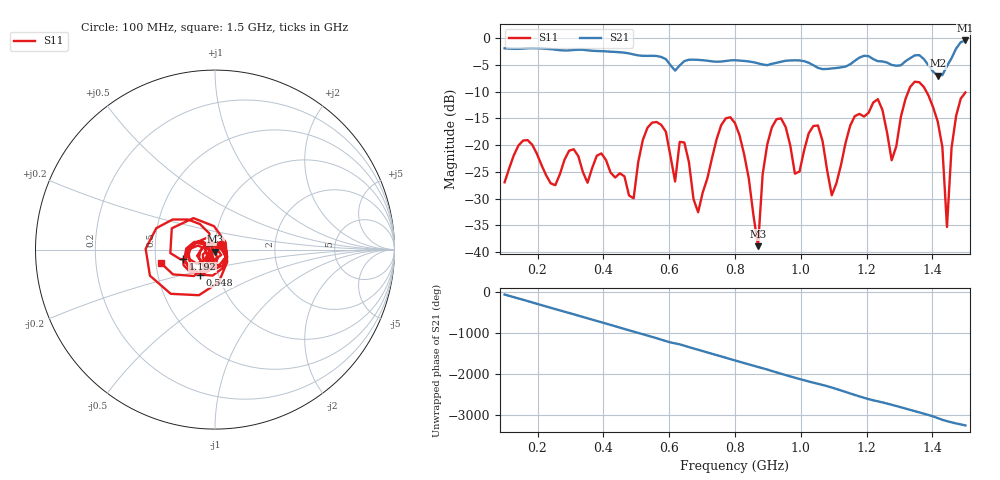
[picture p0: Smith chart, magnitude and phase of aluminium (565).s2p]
! NanoVNA-App
! Date: 2025-09-25 14:59:40
! Start: 100MHz Stop: 1,5GHz Points: 101
! S-Parameter data: F S11 S21 S12 S22
# Hz S RI R 50
!  Frequency  S11_Real  S11_Imag  S21_Real  S21_Imag  S12_Real  S12_Imag  S22_Real  S22_Imag
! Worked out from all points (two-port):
!   101 points, 100 MHz to 1.5 GHz, reference 50 ohm
!   highest |S21| = -0.45 dB at 1.5 GHz (marker M1); lowest = -7.0 dB at 1.416 GHz (marker M2)
!   |S21| within 3 dB of the highest: start of sweep to 569.2 MHz; 1.46 GHz to end of sweep (the widest 2 of 4)
!   lowest |S11| = -38.9 dB at 870 MHz (marker M3), VSWR 1.02, Z = 50.2 - j1.11 ohm
!   |S11| at or under -10 dB: start of sweep to 1.327 GHz; 1.381 GHz to end of sweep
!   S12 and S22 are empty: the file has one direction only
!   S11 on the Smith chart (normalised r, x): 100 MHz: 1.07, +0.06; 548 MHz: 0.82, -0.23; 1.192 GHz: 0.70, -0.08; 1.5 GHz: 0.53, -0.09
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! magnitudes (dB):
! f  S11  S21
! 100 MHz  -27.0  -1.9
! 156 MHz  -19.2  -2.0
! 338 MHz  -25.1  -2.2
! 492 MHz  -30.0  -3.1
! 548 MHz  -15.8  -3.3
! 576 MHz  -16.2  -3.5
! 646 MHz  -19.5  -4.3
! 688 MHz  -32.6  -4.1
! 800 MHz  -15.9  -4.1
! 870 MHz  -38.9  -4.7
! 912 MHz  -16.7  -4.8
! 982 MHz  -25.3  -4.2
! 1.038 GHz  -16.4  -5.1
! 1.094 GHz  -29.4  -5.7
! 1.192 GHz  -14.7  -3.3
! 1.234 GHz  -11.4  -4.3
! 1.276 GHz  -22.8  -5.0
! 1.346 GHz  -8.2  -3.2
! 1.416 GHz  -15.6  -7.0
! 1.444 GHz  -35.3  -5.3
! 1.458 GHz  -20.5  -3.8
! 1.5 GHz  -10.2  -0.5
